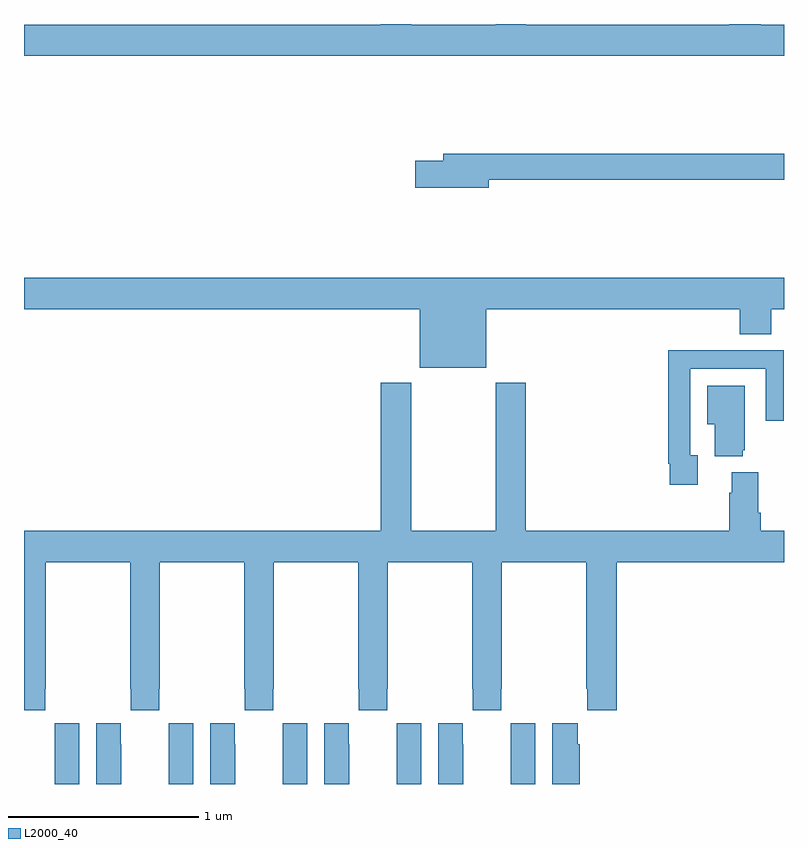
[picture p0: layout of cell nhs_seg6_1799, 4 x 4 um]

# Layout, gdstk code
import gdstk
lib = gdstk.Library(unit=1e-6, precision=1e-09)
def P(c, l, *ps):  # polygons
    for p in ps: c.add(gdstk.Polygon(p, *l))
L2000_40 = (2000, 40)

nhs_seg6_1799 = lib.new_cell('nhs_seg6_1799')
P(nhs_seg6_1799, L2000_40, [(223,951.496),(222.878,951.496),(222.878,951.5),(222.713,951.5),(222.713,951.496),(221.642,951.496),(221.642,951.5),(221.482,951.5),(221.482,951.496),(221.037,951.496),(221.037,951.5),(220.877,951.5),(220.877,951.496),(219,951.496),(219,951.332),(223,951.332)],
  [(221.446,950.68),(223,950.68),(223,950.816),(221.207,950.816),(221.207,950.78),(221.058,950.78),(221.058,950.638),(221.446,950.638)],
  [(219,950),(221.084,950),(221.084,949.691),(221.434,949.691),(221.434,950),(222.767,950),(222.767,949.867),(222.932,949.867),(222.932,950),(223,950),(223,950.164),(219,950.164)],
  [(222.547,949.23),(222.507,949.23),(222.507,949.686),(222.903,949.686),(222.903,949.413),(222.999,949.413),(222.999,949.782),(222.683,949.782),(222.683,949.784),(222.391,949.784),(222.391,949.186),(222.399,949.186),(222.399,949.074),(222.547,949.074)],
  [(219.111,948.001),(219.114,948.001),(219.114,948.668),(219.559,948.668),(219.559,948.001),(219.561,948.001),(219.561,947.889),(219.711,947.889),(219.711,948.001),(219.714,948.001),(219.714,948.668),(220.159,948.668),(220.159,948.001),(220.161,948.001),(220.161,947.889),(220.311,947.889),(220.311,948.001),(220.314,948.001),(220.314,948.668),(220.759,948.668),(220.759,948.001),(220.761,948.001),(220.761,947.889),(220.911,947.889),(220.911,948.001),(220.914,948.001),(220.914,948.668),(221.359,948.668),(221.359,948.001),(221.361,948.001),(221.361,947.889),(221.511,947.889),(221.511,948.001),(221.514,948.001),(221.514,948.668),(221.959,948.668),(221.959,948.001),(221.965,948.001),(221.965,947.889),(222.119,947.889),(222.119,948.668),(223,948.668),(223,948.832),(222.878,948.832),(222.878,948.928),(222.865,948.928),(222.865,949.141),(222.725,949.141),(222.725,949.034),(222.713,949.034),(222.713,948.832),(221.642,948.832),(221.642,949.612),(221.482,949.612),(221.482,948.832),(221.037,948.832),(221.037,949.612),(220.877,949.612),(220.877,948.832),(219,948.832),(219,947.889),(219.111,947.889)],
  [(222.782,949.257),(222.793,949.257),(222.793,949.597),(222.596,949.597),(222.596,949.394),(222.635,949.394),(222.635,949.226),(222.782,949.226)],
  [(221.924,947.708),(221.914,947.708),(221.914,947.821),(221.78,947.821),(221.78,947.5),(221.924,947.5)],
  [(221.692,947.821),(221.562,947.821),(221.562,947.708),(221.561,947.708),(221.561,947.5),(221.692,947.5)],
  [(221.311,947.708),(221.31,947.708),(221.31,947.821),(221.18,947.821),(221.18,947.5),(221.311,947.5)],
  [(221.092,947.821),(220.962,947.821),(220.962,947.708),(220.961,947.708),(220.961,947.5),(221.092,947.5)],
  [(220.711,947.708),(220.71,947.708),(220.71,947.821),(220.58,947.821),(220.58,947.5),(220.711,947.5)],
  [(220.492,947.821),(220.362,947.821),(220.362,947.708),(220.361,947.708),(220.361,947.5),(220.492,947.5)],
  [(220.111,947.708),(220.11,947.708),(220.11,947.821),(219.98,947.821),(219.98,947.5),(220.111,947.5)],
  [(219.892,947.821),(219.762,947.821),(219.762,947.708),(219.761,947.708),(219.761,947.5),(219.892,947.5)],
  [(219.511,947.708),(219.51,947.708),(219.51,947.821),(219.38,947.821),(219.38,947.5),(219.511,947.5)],
  [(219.162,947.821),(219.162,947.708),(219.161,947.708),(219.161,947.5),(219.292,947.5),(219.292,947.821)])

lib.write_gds('nhs_seg6_1799.gds')
